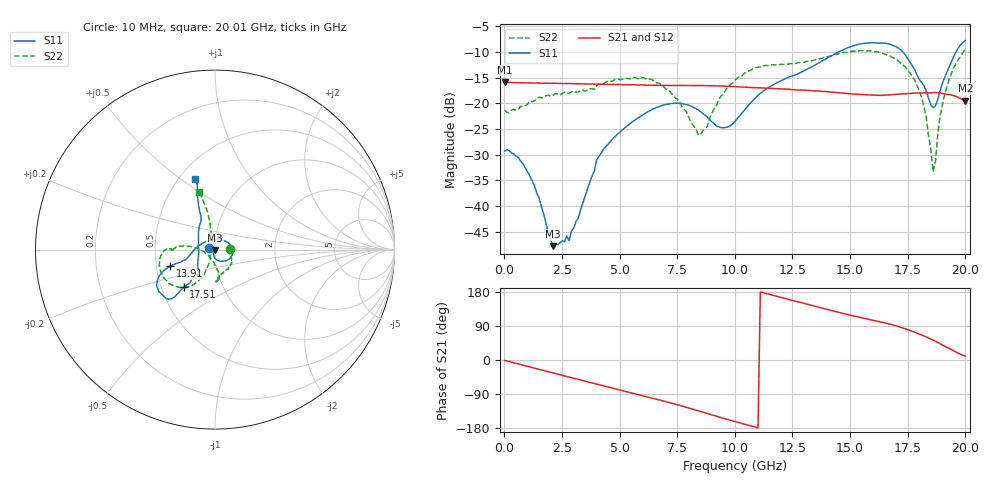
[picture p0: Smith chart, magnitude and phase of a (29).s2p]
! Hittite Microwave Corporation
! 2 Elizabeth Drive
! Chelmsford, MA 01824
! http://www.hittite.com
! Tel: 978-250-3343
! Fax: 978-250-3373
! Device:  HMC424LP3
! Description: 0.5 dB GaAs MMIC 6-Bit Digital Attenuator
! Frequency:  DC -  13.00 GHz
! Package:  LP3  - 3x3 mm Quad Flatpack No-Lead (QFN) Plastic Package: 16 pin
! Ports:  2 RF, 7 DC
!  Pad  1  = Ground
!  Pad  2  = RF IN  = Port 1
!  Pad  3  = Ground
!  Pad  4  = V6
!  Pad  5  = V5
!  Pad  6  = V4
!  Pad  7  = V3
!  Pad  8  = V2
!  Pad  9  = V1
!  Pad 10  = Ground
!  Pad 11  = RF OUT  = Port 2
!  Pad 12  = Ground
!  Pad 15  = VEE
! Control:  -5 Volt control voltage
! State:  27
! Attenuation:  13.5 dB
! Voltages:  Vdd = -5.00 Volts  Idd =  -2.677 mA
!  V1  = -5.00 Volts  I1  =  -1.0 uA
!  V2  = -5.00 Volts  I2  =  -1.0 uA
!  V3  = 0.00 Volts  I3  =  29.0 uA
!  V4  = -5.00 Volts  I4  =  -1.0 uA
!  V5  = -5.00 Volts  I5  =  -1.0 uA
!  V6  = 0.00 Volts  I6  =  30.0 uA
! Data:  The device was measured on evaluation board 105354-1.
!  Data was collected using a calibrated network analyzer.
!  The evaluation circuit board was modeled and simulated.  This was use
!  to removed the evaluation board circuit from the measured data.
!  The reference plane is the edge of the package pin.
! Misc:  Lot xxxx, Unit 1
!  Application 20120001, Data collected in Application 20090083
! Date Measured:  2009-09-15
! Date:  2012-05-14  MJV
! Note:
!  Hittite supplies this data as a sample of measured data at the package pin
!  for this product.  Your particular data for this product may vary.
!  Data was taken at 25 degrees C.
!  Hittite reserves the right to change this data at anytime.
# GHz S MA R 50
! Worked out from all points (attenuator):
!   201 points, 10 MHz to 20.01 GHz, reference 50 ohm
!   highest |S21| = -15.83 dB at 10 MHz (marker M1); lowest = -19.4 dB at 20.01 GHz (marker M2)
!   lowest |S11| = -47.8 dB at 2.11 GHz (marker M3), VSWR 1.01, Z = 50 - j0.408 ohm
!   |S11| at or under -10 dB: start of sweep to 14.5 GHz; 17.3 GHz to 19.6 GHz (2.294 GHz wide, 12.4 % of centre)
!   |S22| runs from -33.3 to -9.5 dB; largest |S21 - S12| = 0.00076
!   S11 on the Smith chart (normalised r, x): 10 MHz: 0.93, +0.01; 13.91 GHz: 0.59, -0.12; 17.51 GHz: 0.65, -0.29; 20.01 GHz: 0.60, +0.57
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0.01  0.03441 167.9  0.1616 -1.5  0.1621 -1.3  0.08612 2.8
1.11  0.01969 -163.4  0.1584 -18.4  0.1581 -18.4  0.1052 -27.8
2.11  0.004081 -92.2  0.1569 -34.1  0.1568 -34.2  0.1198 -42.1
2.81  0.004621 -69.8  0.1559 -45.1  0.1559 -45.2  0.1254 -52.8
3.41  0.01076 -107.9  0.1551 -54.5  0.1549 -54.5  0.1347 -63.3
4.31  0.03596 -100.1  0.1537 -68.3  0.1535 -68.4  0.1549 -80.7
6.71  0.09295 -35.2  0.1499 -105.2  0.1496 -105.2  0.1579 -83.6
8.51  0.08338 25.8  0.1492 -135.6  0.1489 -135.6  0.04963 -138.4
9.41  0.05792 85.8  0.1478 -152.1  0.1475 -152.1  0.118 175.3
10.01  0.06671 136.7  0.1456 -162.6  0.1454 -162.5  0.1677 172.4
11.41  0.1404 -169.0  0.1405 174.7  0.1403 174.7  0.2336 -179.2
13.41  0.231 -160.2  0.1328 142.8  0.1326 142.8  0.2616 178.8
13.91  0.2674 -159.6  0.1304 134.9  0.1302 134.9  0.2827 -179.3
16.71  0.3781 -133.1  0.1211 95.0  0.1209 95.0  0.2912 -133.9
17.51  0.273 -129.7  0.1246 80.0  0.1244 80.1  0.2109 -119.2
18.11  0.1602 -125.2  0.1258 66.2  0.1257 66.2  0.1146 -112.8
18.31  0.132 -136.5  0.1268 60.9  0.1267 60.9  0.07343 -113.7
18.61  0.09082 -176.5  0.1272 52.6  0.1271 52.6  0.02167 -175.2
18.71  0.09504 167.1  0.1276 49.5  0.1274 49.6  0.02713 136.2
18.91  0.1328 134.2  0.1266 42.6  0.1263 42.6  0.07449 107.0
19.11  0.1782 116.0  0.1231 36.4  0.123 36.4  0.1224 102.0
20.01  0.4099 105.7  0.1067 10.3  0.1065 10.3  0.3346 105.6
